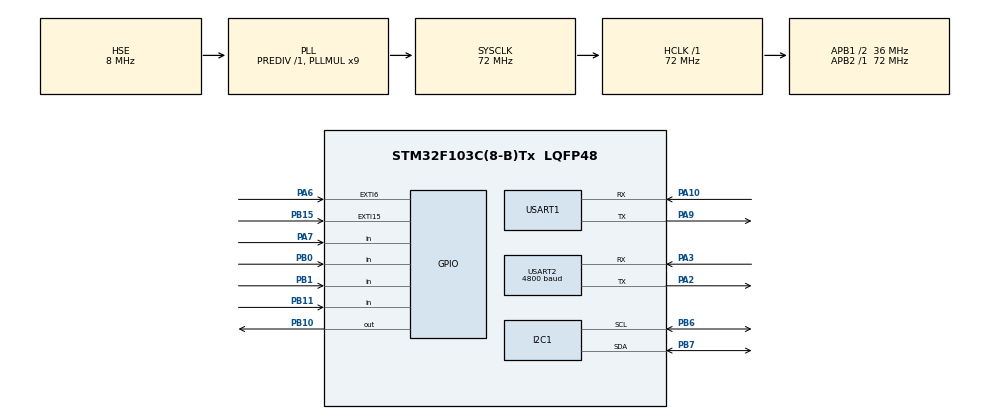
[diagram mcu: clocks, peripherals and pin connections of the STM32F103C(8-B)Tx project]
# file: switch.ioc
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Dma.Request0=USART2_RX
Dma.Request1=USART2_TX
Dma.USART2_RX.0.Direction=DMA_PERIPH_TO_MEMORY
Dma.USART2_RX.0.Instance=DMA1_Channel6
Dma.USART2_RX.0.MemDataAlignment=DMA_MDATAALIGN_BYTE
Dma.USART2_RX.0.MemInc=DMA_MINC_ENABLE
Dma.USART2_RX.0.Mode=DMA_CIRCULAR
Dma.USART2_RX.0.PeriphDataAlignment=DMA_PDATAALIGN_BYTE
Dma.USART2_RX.0.PeriphInc=DMA_PINC_DISABLE
Dma.USART2_RX.0.Priority=DMA_PRIORITY_HIGH
Dma.USART2_TX.1.Direction=DMA_MEMORY_TO_PERIPH
Dma.USART2_TX.1.Instance=DMA1_Channel7
Dma.USART2_TX.1.MemDataAlignment=DMA_MDATAALIGN_BYTE
Dma.USART2_TX.1.MemInc=DMA_MINC_ENABLE
Dma.USART2_TX.1.Mode=DMA_CIRCULAR
Dma.USART2_TX.1.PeriphDataAlignment=DMA_PDATAALIGN_BYTE
Dma.USART2_TX.1.PeriphInc=DMA_PINC_DISABLE
Dma.USART2_TX.1.Priority=DMA_PRIORITY_HIGH
Mcu.Family=STM32F1
Mcu.Name=STM32F103C(8-B)Tx
Mcu.Package=LQFP48
NVIC.DMA1_Channel6_IRQn=true\:12\:0\:true\:false\:true\:false\:true\:true
NVIC.DMA1_Channel7_IRQn=true\:0\:0\:false\:false\:true\:false\:true\:true
NVIC.EXTI15_10_IRQn=true\:8\:0\:true\:false\:true\:true\:true\:true
NVIC.EXTI9_5_IRQn=true\:9\:0\:true\:false\:true\:true\:true\:true
NVIC.PriorityGroup=NVIC_PRIORITYGROUP_4
NVIC.TIM2_IRQn=true\:0\:0\:false\:false\:true\:true\:true\:true
PA10.Mode=Asynchronous
PA10.Signal=USART1_RX
PA13.Mode=Serial_Wire
PA13.Signal=SYS_JTMS-SWDIO
PA14.Mode=Serial_Wire
PA14.Signal=SYS_JTCK-SWCLK
PA2.Mode=Asynchronous
PA2.Signal=USART2_TX
PA3.Mode=Asynchronous
PA3.Signal=USART2_RX
PA6.Signal=GPXTI6
PA7.Signal=GPIO_Input
PA9.Mode=Asynchronous
PA9.Signal=USART1_TX
PB0.Signal=GPIO_Input
PB1.Signal=GPIO_Input
PB10.Signal=GPIO_Output
PB11.Signal=GPIO_Input
PB15.Signal=GPXTI15
PB6.Mode=I2C
PB6.Signal=I2C1_SCL
PB7.Mode=I2C
PB7.Signal=I2C1_SDA
PC14-OSC32_IN.Mode=LSE-External-Oscillator
PC14-OSC32_IN.Signal=RCC_OSC32_IN
PC15-OSC32_OUT.Mode=LSE-External-Oscillator
PC15-OSC32_OUT.Signal=RCC_OSC32_OUT
PD0-OSC_IN.Mode=HSE-External-Oscillator
PD0-OSC_IN.Signal=RCC_OSC_IN
PD1-OSC_OUT.Mode=HSE-External-Oscillator
PD1-OSC_OUT.Signal=RCC_OSC_OUT
ProjectManager.HeapSize=0x200
ProjectManager.StackSize=0x400
ProjectManager.TargetToolchain=MDK-ARM V5.32
RCC.AHBFreq_Value=72000000
RCC.APB1CLKDivider=RCC_HCLK_DIV2
RCC.APB1Freq_Value=36000000
RCC.APB1TimFreq_Value=72000000
RCC.APB2Freq_Value=72000000
RCC.APB2TimFreq_Value=72000000
RCC.HCLKFreq_Value=72000000
RCC.PLLMUL=RCC_PLL_MUL9
RCC.PLLSourceVirtual=RCC_PLLSOURCE_HSE
RCC.RTCClockSelection=RCC_RTCCLKSOURCE_LSE
RCC.SYSCLKFreq_VALUE=72000000
RCC.SYSCLKSource=RCC_SYSCLKSOURCE_PLLCLK
RCC.USBFreq_Value=72000000
TIM2.Period=59999
TIM2.Prescaler=65535
USART1.VirtualMode=VM_ASYNC
USART2.BaudRate=4800
USART2.VirtualMode=VM_ASYNC
VP_IWDG_VS_IWDG.Mode=IWDG_Activate
VP_TIM2_VS_ClockSourceINT.Mode=Internal
board=custom

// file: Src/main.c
/* USER CODE BEGIN Header */
/**
  ******************************************************************************
  * @file           : main.c
  * @brief          : Main program body
  ******************************************************************************
  * @attention
  *
  * Copyright (c) 2023 STMicroelectronics.
  * All rights reserved.
  *
  * This software is licensed under terms that can be found in the LICENSE file
  * in the root directory of this software component.
  * If no LICENSE file comes with this software, it is provided AS-IS.
  *
  ******************************************************************************
  */
/* USER CODE END Header */
#include "main.h"
#include "dma.h"
#include "i2c.h"
#include "iwdg.h"
#include "tim.h"
#include "usart.h"
#include "gpio.h"
#include "oled.h"

void SystemClock_Config(void);
/* USER CODE BEGIN PFP */

double V=0,C=0,P=0,E_con=0;
volatile int dataReceived = 0;
int leakage=0,cross=0,cross_C=0;
uint16_t errorcode=0x000;
uint8_t HLW8032_Data_processing(uint8_t rxBuffer1[24],double * V,double * C,double * P,double * E_con);
uint16_t currentMenuIndex=0,time_close=0,time_on=0,enter=0,enter_storage=0,time_storage=0;
uint16_t V_set=0,C_set=0,P_set=0,E_con_set=0;
int time=0;

void HAL_TIM_PeriodElapsedCallback(TIM_HandleTypeDef *htim)
{

    if (htim == (&htim2))
    {

			if(time_close+time_on!=0)
			{
				time++;
        if (time == time_close*65)
				{
					cross=0;
					time_close=0;
					time=0;
				}
        if(time == time_on*65)
				{
					cross=1;
					time_on=0;
					time=0;
				}
				if(time_storage!=time_close+time_on)
				{
					time=0;
					time_storage =time_close+time_on;
				}

			}

    }
}

void HAL_UART_RxCpltCallback(UART_HandleTypeDef *huart) {
  if (huart == &huart2)
	{
		dataReceived = 1;
	}

}

void HAL_GPIO_EXTI_Callback(uint16_t GPIO_Pin)
{

	//Zero-crossing voltage detection

if(HAL_GPIO_ReadPin(GPIOA, GPIO_PIN_6) == GPIO_PIN_SET)
{
  // PA0 is low
	HAL_GPIO_WritePin(GPIOB, GPIO_PIN_10, GPIO_PIN_SET);
	HAL_Delay(3);
	HAL_GPIO_WritePin(GPIOB, GPIO_PIN_10, GPIO_PIN_RESET);
}

//Leakage detection

if(HAL_GPIO_ReadPin(GPIOB, GPIO_PIN_15) == GPIO_PIN_RESET)
{
  // PA0 is low
	HAL_GPIO_WritePin(GPIOB, GPIO_PIN_10, GPIO_PIN_RESET);
	errorcode=0x004|errorcode;
}

}

//control
void control(void)
{
if(cross==1||cross_C==1)
	{
		HAL_GPIO_WritePin(GPIOB, GPIO_PIN_10, GPIO_PIN_SET);
	}
	else
	{
		HAL_GPIO_WritePin(GPIOB, GPIO_PIN_10, GPIO_PIN_RESET);
	}
}

typedef struct
{
int page;//当前页码
int line;//当前所选行
int left;//左侧菜单页码
int right;//右侧菜单页码
int enter;//当前页码是否具有可进入的设置
}menu;

void page0(int index,int sw_state)
{
	if(index==0)
	{
	OLED_Clear();
	OLED_ShowCHinese(0,0,0,0);//电
  OLED_ShowCHinese(12,0,1,0);//压
  OLED_ShowCHinese(24,0,27,0);//:
	OLED_Showdecimal(32,0,V,3,2,12,0);//V
	OLED_ShowCHinese(0,2,0,0);//电
  OLED_ShowCHinese(12,2,2,0);//流
  OLED_ShowCHinese(24,2,27,0);//:
	OLED_Showdecimal(32,2,C,3,2,12,0);//C
	OLED_ShowCHinese(0,4,3,0);//功
  OLED_ShowCHinese(12,4,4,0);//率
  OLED_ShowCHinese(24,4,27,0);//:
	OLED_Showdecimal(32,4,P,3,2,12,0);//P
	OLED_ShowCHinese(0,6,9,0);//累
	OLED_ShowCHinese(12,6,10,0);//计
	OLED_ShowCHinese(24,6,5,0);//用
	OLED_ShowCHinese(36,6,0,0);//电
	OLED_ShowCHinese(48,6,27,0);//:
	OLED_Showdecimal(60,6,E_con,3,2,12,0);//E_con
	OLED_ShowCHinese(102,1,11,sw_state);//开
	OLED_ShowCHinese(114,1,23,sw_state);//启
	OLED_ShowCHinese(102,3,21,!sw_state);//关
  OLED_ShowCHinese(114,3,22,!sw_state);//闭
	}

}

void page1(int index,int line, int choise)
{
	int turn1=0;
	int turn2=0;

	if(choise==1)
	{
		switch (line)
		{
			case 1:
				turn1=1;
			break;
			case 2:
				turn2=1;
			break;
		}

	}
	if (index==1)
	{
	OLED_Clear();
	OLED_ShowCHinese(13,0,19,turn1);//定
	OLED_ShowCHinese(25,0,20,turn1);//时
	OLED_ShowCHinese(37,0,21,turn1);//关
	OLED_ShowCHinese(49,0,22,turn1);//闭
	OLED_ShowCHinese(13,2,19,turn2);//定
	OLED_ShowCHinese(25,2,20,turn2);//时
	OLED_ShowCHinese(37,2,23,turn2);//启
	OLED_ShowCHinese(49,2,24,turn2);//动
	OLED_ShowCHinese(0,line*2-2,40,0);//->
	OLED_ShowNum(110,0,time_close,2,12,0);/*关闭时间*/
	OLED_ShowNum(110,2,time_on,2,12,0);/*开启时间*/

	}
}

void page2(int index,int line,int choise)
{
	int turn1=0;
	int turn2=0;
	int turn3=0;

	if(choise==1)
	{
		switch (line)
		{
			case 1:
				turn1=1;
			break;
			case 2:
				turn2=1;
			break;
			case 3:
				turn3=1;
			break;
		}

	}
	if(index==2)
	{
	OLED_Clear();
	OLED_ShowCHinese(13,0,38,turn1);//最
	OLED_ShowCHinese(25,0,39,turn1);//大
	OLED_ShowCHinese(37,0,0,turn1);//电
	OLED_ShowCHinese(49,0,1,turn1);//压
	OLED_ShowCHinese(13,2,38,turn2);//最
	OLED_ShowCHinese(25,2,39,turn2);//大
	OLED_ShowCHinese(37,2,0,turn2);//电
	OLED_ShowCHinese(49,2,2,turn2);//流
	OLED_ShowCHinese(13,4,38,turn3);//最
	OLED_ShowCHinese(25,4,39,turn3);//大
	OLED_ShowCHinese(37,4,32,turn3);//实
	OLED_ShowCHinese(49,4,33,turn3);//时
  OLED_ShowCHinese(61,4,3,turn3);//功
  OLED_ShowCHinese(73,4,4,turn3);//率
	OLED_ShowCHinese(0,line*2-2,40,0);//->
	OLED_ShowNum(86,0,V_set,3,12,0);/*最大电压*/
	OLED_ShowNum(86,2,C_set,5,12,0);/*最大电流*/
	OLED_ShowNum(86,4,E_con_set,5,12,0);/*最大实时功率*/

	}
}

void page3(int index)
{
	if (index==3)
	{
		OLED_Clear();
		OLED_DrawBMP(0,0,45,7,gImage_1,0);
		OLED_ShowCHinese(48,0,11,0);//开
	  OLED_ShowCHinese(60,0,12,0);//发
	  OLED_ShowCHinese(72,0,13,0);//者
		OLED_ShowCHinese(84,0,27,0);//:
		OLED_ShowString(96,0,"Wesp",12,0);
		OLED_ShowCHinese(48,3,14,0);//版
	  OLED_ShowCHinese(60,3,15,0);//本
	  OLED_ShowCHinese(72,3,16,0);//号
		OLED_ShowCHinese(84,3,27,0);//:
		OLED_ShowString(96,3,"1.0",12,0);
	}
}

//page,line,left,right,enter
menu m[]=
{
	{0,0,1,3,1},//主页
	{1,1,3,1,1},//定时
	{2,1,4,2,1},//安全设置
	{3,0,0,3,0},//关于
};

/* USER CODE END PFP */

int main(void)
{

  /* MCU Configuration--------------------------------------------------------*/

  /* Reset of all peripherals, Initializes the Flash interface and the Systick. */
  HAL_Init();

  /* Configure the system clock */
  SystemClock_Config();

  /* Initialize all configured peripherals */
  MX_GPIO_Init();
  MX_DMA_Init();
  MX_I2C1_Init();
  MX_TIM2_Init();
  //MX_IWDG_Init();
  MX_USART1_UART_Init();
  MX_USART2_UART_Init();
	OLED_Init();
  OLED_Clear();
  /* USER CODE BEGIN 2 */
double V=0,C=0,P=0,E_con=0;
uint8_t rxBuffer[24];
uint16_t V_storage=0,P_storage=0;
HAL_UART_Receive_DMA(&huart2, rxBuffer, sizeof(rxBuffer));
uint16_t currentMenuIndex_storage=1,lineindex=1,lineindex_storage=0,data=0;

HAL_TIM_Base_Start_IT(&htim2);
  /* USER CODE END 2 */

  /* Infinite loop */
  while(1)
  {

//iwdg refresh
//HAL_IWDG_Refresh(&hiwdg);

//data of HLW8032

 if (dataReceived==1)
	 {
		 //存储上次有效电流、功率数据
		 V_storage=V , P_storage=P;
		 errorcode = HLW8032_Data_processing(rxBuffer,&V,&C,&P,&E_con);
	   //V 电压,C 电流,P 功率,E_con 度
		 dataReceived = 0;
   }

//safety funtion
if(V>=V_set)
{
  cross=0;
	errorcode=0x008|errorcode;
	control();

}

if(C>=C_set)
{
  cross=0;
	errorcode=0x010|errorcode;
	control();
}

if(P>=P_set)
{
  cross=0;
	errorcode=0x020|errorcode;
	control();
}

if(E_con>=E_con_set)
{
  cross=0;
	errorcode=0x040|errorcode;
	control();
}
if(V-22>V_storage)
{
	cross=0;
	errorcode=0x080|errorcode;
	control();
}
if(P_storage>P_set)
{
	cross=0;
  errorcode=0x100|errorcode;
	control();
}

//OLED

// 读取按键状态
        GPIO_PinState key1State = HAL_GPIO_ReadPin(GPIOB, GPIO_PIN_11); // KEY1
        GPIO_PinState key2State = HAL_GPIO_ReadPin(GPIOB, GPIO_PIN_0); // KEY2
        GPIO_PinState key3State = HAL_GPIO_ReadPin(GPIOB, GPIO_PIN_1); // KEY3
        GPIO_PinState key4State = HAL_GPIO_ReadPin(GPIOA, GPIO_PIN_7); // KEY3

        if(enter==0)
				{
					// 处理按键事件
        if (key1State == GPIO_PIN_RESET || key2State == GPIO_PIN_RESET || key4State == GPIO_PIN_RESET || key3State == GPIO_PIN_RESET ) {
            HAL_Delay(15); // 消抖延时

            if (key1State == GPIO_PIN_RESET) {
                currentMenuIndex = m[currentMenuIndex].left; // 向左选择
                while (key1State == GPIO_PIN_RESET) {
                    key1State = HAL_GPIO_ReadPin(GPIOB, GPIO_PIN_11); // KEY1连接到GPIOA的7引脚
                }

            }

            if (key2State == GPIO_PIN_RESET) {
                currentMenuIndex = m[currentMenuIndex].right; // 向右选择
                while (key2State == GPIO_PIN_RESET) {
                    key2State = HAL_GPIO_ReadPin(GPIOB, GPIO_PIN_0); // KEY2连接到GPIOB的0引脚
                }
            }

						  if (key3State == GPIO_PIN_RESET) {
							while (key3State == GPIO_PIN_RESET) {
                    key3State = HAL_GPIO_ReadPin(GPIOB, GPIO_PIN_1);}
							lineindex=m[currentMenuIndex].line++;
							if(currentMenuIndex==2 && lineindex>2)
							{
								m[currentMenuIndex].line=1;
								lineindex=1;
							}
							if(currentMenuIndex==3 && lineindex>3)
							{
								m[currentMenuIndex].line=1;
								lineindex=1;
							}
						}

						if (key4State == GPIO_PIN_RESET) {
                enter = m[currentMenuIndex].enter; // 确认
                while (key4State == GPIO_PIN_RESET) {
                    key4State = HAL_GPIO_ReadPin(GPIOA, GPIO_PIN_7); // KEY4连接到GPIOB的11引脚
                }
            }

         }
		    }

				else if(enter==1)
				{
					if (key4State == GPIO_PIN_RESET)//取消选择操作
							{
								enter = 0;
								while (key4State == GPIO_PIN_RESET) {
                    key4State = HAL_GPIO_ReadPin(GPIOA, GPIO_PIN_7); // KEY4连接到GPIOB的11引脚
								}
							}
							if(currentMenuIndex==0)
							{
								if(cross_C==0)
								{
									cross_C=1;
									enter=0;
								}
								else if(cross_C==1)
								{
									cross_C=0;
									enter=0;
								}

							}
					if(currentMenuIndex==1)
					{
						if(m[currentMenuIndex].line==1)
						{
							if(key1State == GPIO_PIN_RESET)
							{
								time_close--;
							  while(key1State == GPIO_PIN_RESET)
							  {key1State = HAL_GPIO_ReadPin(GPIOA, GPIO_PIN_7);}
							}

							if(key2State == GPIO_PIN_RESET)
							{
								time_close++;
							  while(key2State == GPIO_PIN_RESET)
							  {key2State = HAL_GPIO_ReadPin(GPIOB, GPIO_PIN_0);}
							}

							if(key3State == GPIO_PIN_RESET)
							{
								time_close=time_close+10;
							  while(key3State == GPIO_PIN_RESET)
							  {key3State = HAL_GPIO_ReadPin(GPIOB, GPIO_PIN_1);}
							}

							if(key1State == GPIO_PIN_RESET && key3State == GPIO_PIN_RESET)
							{
								time_close=time_close-10;
							  while(key1State == GPIO_PIN_RESET&&key3State == GPIO_PIN_RESET)
							  {
									key1State = HAL_GPIO_ReadPin(GPIOB, GPIO_PIN_11);
								  key3State = HAL_GPIO_ReadPin(GPIOB, GPIO_PIN_1);
								}
							}
							if(time_close+time_on!=time_close)
				      {time_on=0;}

						}
						if(m[currentMenuIndex].line==2)
						{

							if(key1State == GPIO_PIN_RESET)
							{
								time_on--;
							  while(key1State == GPIO_PIN_RESET)
							  {key1State = HAL_GPIO_ReadPin(GPIOA, GPIO_PIN_7);}
							}

							if(key2State == GPIO_PIN_RESET)
							{
								time_on++;
							  while(key2State == GPIO_PIN_RESET)
							  {key2State = HAL_GPIO_ReadPin(GPIOB, GPIO_PIN_0);}
							}

							if(key3State == GPIO_PIN_RESET)
							{
								time_on=time_on+10;
							  while(key3State == GPIO_PIN_RESET)
							  {key3State = HAL_GPIO_ReadPin(GPIOB, GPIO_PIN_1);}
							}

							if(key1State == GPIO_PIN_RESET && key3State == GPIO_PIN_RESET)
							{
								time_on=time_on-10;
							  while(key1State == GPIO_PIN_RESET&&key3State == GPIO_PIN_RESET)
							  {
									key1State = HAL_GPIO_ReadPin(GPIOB, GPIO_PIN_11);
								  key3State = HAL_GPIO_ReadPin(GPIOB, GPIO_PIN_1);
								}
							}
							if(time_close+time_on!=time_on)
				      {time_close=0;}

						}

					}
					if(currentMenuIndex==2)
					{
						if(m[currentMenuIndex].line==1)
						{
							if(key1State == GPIO_PIN_RESET)
							{
								V_set--;
							  while(key1State == GPIO_PIN_RESET)
							  {key1State = HAL_GPIO_ReadPin(GPIOA, GPIO_PIN_7);}
							}

							if(key2State == GPIO_PIN_RESET)
							{
								V_set++;
							  while(key2State == GPIO_PIN_RESET)
							  {key2State = HAL_GPIO_ReadPin(GPIOB, GPIO_PIN_0);}
							}

							if(key3State == GPIO_PIN_RESET)
							{
								V_set=V_set+10;
							  while(key3State == GPIO_PIN_RESET)
							  {key3State = HAL_GPIO_ReadPin(GPIOB, GPIO_PIN_1);}
							}

							if(key1State == GPIO_PIN_RESET && key3State == GPIO_PIN_RESET)
							{
								V_set=V_set-10;
							  while(key1State == GPIO_PIN_RESET&&key3State == GPIO_PIN_RESET)
							  {
									key1State = HAL_GPIO_ReadPin(GPIOB, GPIO_PIN_11);
								  key3State = HAL_GPIO_ReadPin(GPIOB, GPIO_PIN_1);
								}
							}

						}
						if(m[currentMenuIndex].line==2)
						{

							if(key1State == GPIO_PIN_RESET)
							{
								C_set--;
							  while(key1State == GPIO_PIN_RESET)
							  {key1State = HAL_GPIO_ReadPin(GPIOA, GPIO_PIN_7);}
							}

							if(key2State == GPIO_PIN_RESET)
							{
								C_set++;
							  while(key2State == GPIO_PIN_RESET)
							  {key2State = HAL_GPIO_ReadPin(GPIOB, GPIO_PIN_0);}
							}

							if(key3State == GPIO_PIN_RESET)
							{
								C_set=C_set+10;
							  while(key3State == GPIO_PIN_RESET)
							  {key3State = HAL_GPIO_ReadPin(GPIOB, GPIO_PIN_1);}
							}

							if(key1State == GPIO_PIN_RESET && key3State == GPIO_PIN_RESET)
							{
								C_set=C_set-10;
							  while(key1State == GPIO_PIN_RESET&&key3State == GPIO_PIN_RESET)
							  {
									key1State = HAL_GPIO_ReadPin(GPIOB, GPIO_PIN_11);
								  key3State = HAL_GPIO_ReadPin(GPIOB, GPIO_PIN_1);
								}
							}

						}
						if(m[currentMenuIndex].line==3)
						{

							if(key1State == GPIO_PIN_RESET)
							{
								P_set--;
							  while(key1State == GPIO_PIN_RESET)
							  {key1State = HAL_GPIO_ReadPin(GPIOA, GPIO_PIN_7);}
							}

							if(key2State == GPIO_PIN_RESET)
							{
								P_set++;
							  while(key2State == GPIO_PIN_RESET)
							  {key2State = HAL_GPIO_ReadPin(GPIOB, GPIO_PIN_0);}
							}

							if(key3State == GPIO_PIN_RESET)
							{
								P_set=P_set+10;
							  while(key3State == GPIO_PIN_RESET)
							  {key3State = HAL_GPIO_ReadPin(GPIOB, GPIO_PIN_1);}
							}

							if(key1State == GPIO_PIN_RESET && key3State == GPIO_PIN_RESET)
							{
								P_set=P_set-10;
							  while(key1State == GPIO_PIN_RESET&&key3State == GPIO_PIN_RESET)
							  {
									key1State = HAL_GPIO_ReadPin(GPIOB, GPIO_PIN_11);
								  key3State = HAL_GPIO_ReadPin(GPIOB, GPIO_PIN_1);
								}
							}

						}

					}

				}

				  if(cross==0)
					{cross_C=0;}
					if(currentMenuIndex_storage!=currentMenuIndex ||lineindex_storage!=lineindex||data!=V_set+C_set+P_set+time_close+time_on||enter_storage!=enter)
					{

	          page0(currentMenuIndex,cross_C);
            page1(currentMenuIndex,lineindex,enter);
						if(currentMenuIndex_storage!=currentMenuIndex)//页面切换后使行数归1
						{
						lineindex=1;
						}
	          page2(currentMenuIndex,lineindex,enter);
						if(currentMenuIndex_storage!=currentMenuIndex)//页面切换后使行数归1
						{
						lineindex=1;
						}
						page3(currentMenuIndex);

          }

				  currentMenuIndex_storage=currentMenuIndex;
					lineindex_storage=lineindex;
					data=V_set+C_set+P_set+time_close+time_on;
					enter_storage=enter;

		}

  }

void SystemClock_Config(void)
{
  RCC_OscInitTypeDef RCC_OscInitStruct = {0};
  RCC_ClkInitTypeDef RCC_ClkInitStruct = {0};

  /** Initializes the RCC Oscillators according to the specified parameters
  * in the RCC_OscInitTypeDef structure.
  */
  RCC_OscInitStruct.OscillatorType = RCC_OSCILLATORTYPE_LSI|RCC_OSCILLATORTYPE_HSE;
  RCC_OscInitStruct.HSEState = RCC_HSE_ON;
  RCC_OscInitStruct.HSEPredivValue = RCC_HSE_PREDIV_DIV1;
  RCC_OscInitStruct.HSIState = RCC_HSI_ON;
  RCC_OscInitStruct.LSIState = RCC_LSI_ON;
  RCC_OscInitStruct.PLL.PLLState = RCC_PLL_ON;
  RCC_OscInitStruct.PLL.PLLSource = RCC_PLLSOURCE_HSE;
  RCC_OscInitStruct.PLL.PLLMUL = RCC_PLL_MUL9;
  if (HAL_RCC_OscConfig(&RCC_OscInitStruct) != HAL_OK)
  {
    Error_Handler();
  }

  /** Initializes the CPU, AHB and APB buses clocks
  */
  RCC_ClkInitStruct.ClockType = RCC_CLOCKTYPE_HCLK|RCC_CLOCKTYPE_SYSCLK
                              |RCC_CLOCKTYPE_PCLK1|RCC_CLOCKTYPE_PCLK2;
  RCC_ClkInitStruct.SYSCLKSource = RCC_SYSCLKSOURCE_PLLCLK;
  RCC_ClkInitStruct.AHBCLKDivider = RCC_SYSCLK_DIV1;
  RCC_ClkInitStruct.APB1CLKDivider = RCC_HCLK_DIV2;
  RCC_ClkInitStruct.APB2CLKDivider = RCC_HCLK_DIV1;

  if (HAL_RCC_ClockConfig(&RCC_ClkInitStruct, FLASH_LATENCY_2) != HAL_OK)
  {
    Error_Handler();
  }
}

void Error_Handler(void)
{
  __disable_irq();
  while (1)
  {
  }
}
